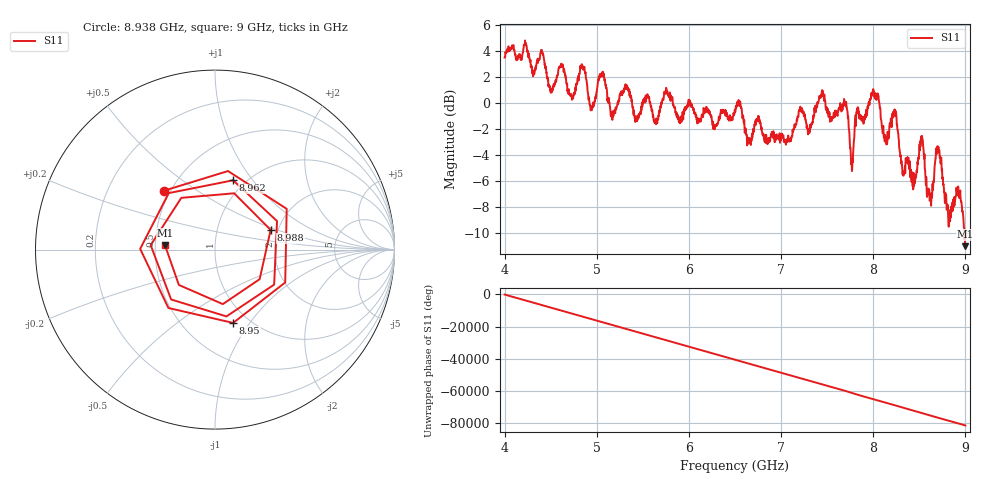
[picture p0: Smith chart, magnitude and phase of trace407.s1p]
! Created with skrf 1.8.0 (http://scikit-rf.org).
# Hz S RI R 50.0
!freq ReS11 ImS11
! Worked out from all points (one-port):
!   1601 points, 4 GHz to 9 GHz, reference 50 ohm
!   lowest |S11| = -11.0 dB at 9 GHz (marker M1), VSWR 1.78, Z = 28.1 + j1.58 ohm
!   |S11| at or under -10 dB: 8.989215 GHz to end of sweep
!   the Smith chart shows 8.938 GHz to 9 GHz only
!   S11 on the Smith chart (normalised r, x): 8.938 GHz: 0.46, +0.38; 8.95 GHz: 0.84, -0.84; 8.962 GHz: 0.88, +0.81; 8.988 GHz: 1.83, +0.45; 9 GHz: 0.56, +0.03
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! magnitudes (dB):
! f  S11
! 4 GHz  3.5
! 4.406 GHz  3.9
! 4.5 GHz  0.8
! 4.625 GHz  2.8
! 4.731 GHz  0.2
! 4.853 GHz  2.6
! 4.947 GHz  -0.6
! 5.05 GHz  2.2
! 5.25 GHz  0.5
! 5.875 GHz  -1.0
! 6.5 GHz  -0.6
! 6.656 GHz  -3.1
! 7.125 GHz  -2.1
! 7.444 GHz  1.0
! 7.697 GHz  0.1
! 7.75 GHz  -3.5
! 8.006 GHz  0.9
! 8.375 GHz  -4.3
! 8.45 GHz  -6.1
! 8.525 GHz  -2.7
! 8.616 GHz  -7.5
! 8.703 GHz  -3.6
! 8.819 GHz  -9.5
! 8.938 GHz  -7.3
! 8.95 GHz  -7.5
! 8.962 GHz  -8.0
! 8.988 GHz  -9.7
! 9 GHz  -11.0
